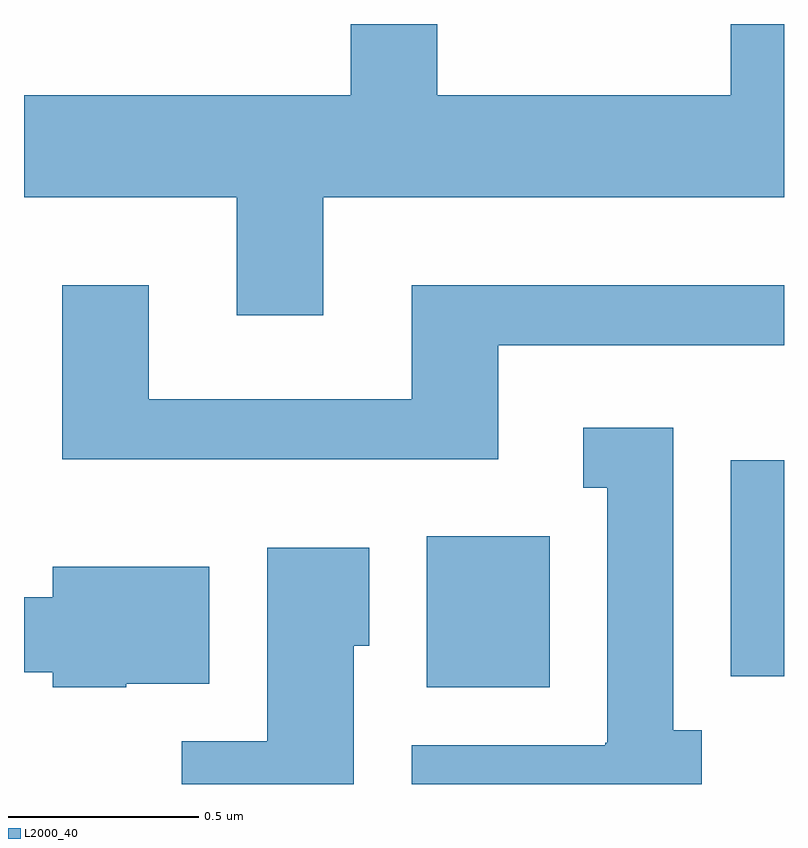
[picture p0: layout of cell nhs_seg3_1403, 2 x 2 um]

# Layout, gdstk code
import gdstk
lib = gdstk.Library(unit=1e-6, precision=1e-09)
def R(c, l, rs):  # rectangles x0, y0, x1, y1
    for r in rs: c.add(gdstk.rectangle(r[:2], r[2:], *l))
def P(c, l, *ps):  # polygons
    for p in ps: c.add(gdstk.Polygon(p, *l))
L2000_40 = (2000, 40)

nhs_seg3_1403 = lib.new_cell('nhs_seg3_1403')
R(nhs_seg3_1403, L2000_40, [(196.671,1149.146,196.994,1149.544), (197.471,1149.176,197.611,1149.744)])
P(nhs_seg3_1403, L2000_40, [(196.399,1150.436),(197.611,1150.436),(197.611,1150.892),(197.471,1150.892),(197.471,1150.704),(196.699,1150.704),(196.699,1150.892),(196.471,1150.892),(196.471,1150.704),(195.611,1150.704),(195.611,1150.436),(196.171,1150.436),(196.171,1150.126),(196.399,1150.126)],
  [(196.859,1150.046),(197.611,1150.046),(197.611,1150.204),(196.631,1150.204),(196.631,1149.904),(195.939,1149.904),(195.939,1150.204),(195.711,1150.204),(195.711,1149.746),(196.859,1149.746)],
  [(197.394,1149.034),(197.319,1149.034),(197.319,1149.829),(197.083,1149.829),(197.083,1149.671),(197.146,1149.671),(197.146,1149),(197.14,1149),(197.14,1148.994),(196.631,1148.994),(196.631,1148.892),(197.394,1148.892)],
  [(196.479,1149.256),(196.519,1149.256),(196.519,1149.514),(196.251,1149.514),(196.251,1149.004),(196.026,1149.004),(196.026,1148.892),(196.479,1148.892)],
  [(195.88,1149.156),(196.099,1149.156),(196.099,1149.464),(195.686,1149.464),(195.686,1149.384),(195.611,1149.384),(195.611,1149.186),(195.686,1149.186),(195.686,1149.146),(195.88,1149.146)])

lib.write_gds('nhs_seg3_1403.gds')
